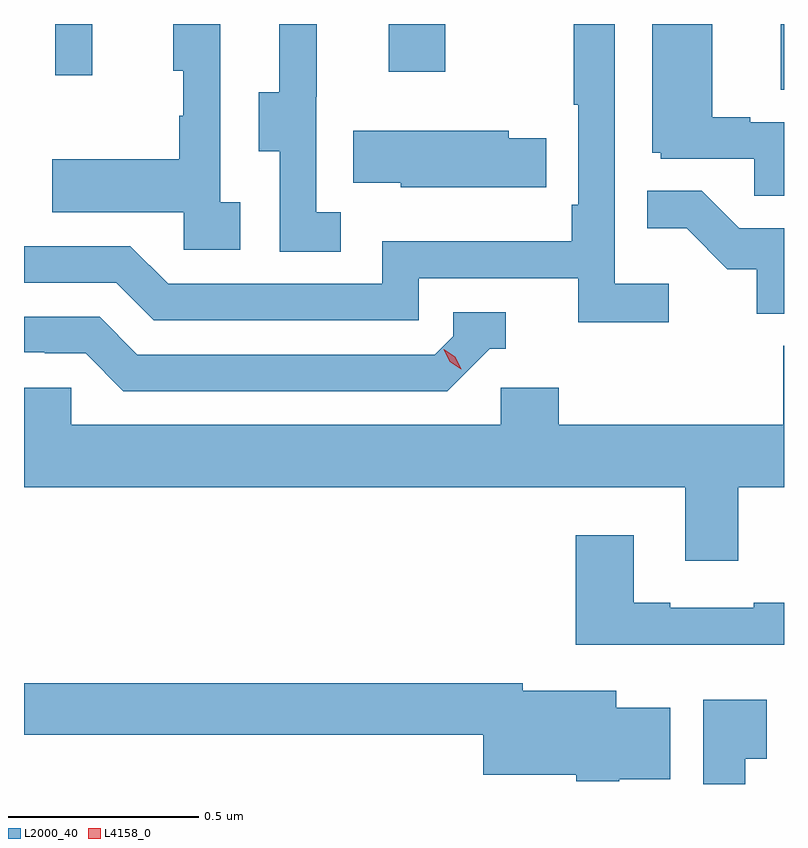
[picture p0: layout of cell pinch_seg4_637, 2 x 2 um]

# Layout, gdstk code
import gdstk
lib = gdstk.Library(unit=1e-6, precision=1e-09)
def R(c, l, rs):  # rectangles x0, y0, x1, y1
    for r in rs: c.add(gdstk.rectangle(r[:2], r[2:], *l))
def P(c, l, *ps):  # polygons
    for p in ps: c.add(gdstk.Polygon(p, *l))
L2000_40 = (2000, 40)
L4158_0 = (4158, 0)

pinch_seg4_637 = lib.new_cell('pinch_seg4_637')
R(pinch_seg4_637, L2000_40, [(1039.031,765.898,1039.039,766.071), (1037.121,765.936,1037.219,766.071), (1037.999,765.945,1038.147,766.071)])
P(pinch_seg4_637, L2000_40, [(1037.608,765.602),(1037.556,765.602),(1037.556,766.071),(1037.432,766.071),(1037.432,765.948),(1037.458,765.948),(1037.458,765.83),(1037.448,765.83),(1037.448,765.715),(1037.113,765.715),(1037.113,765.575),(1037.46,765.575),(1037.46,765.477),(1037.608,765.477)],
  [(1039.039,765.813),(1038.95,765.813),(1038.95,765.826),(1038.85,765.826),(1038.85,766.071),(1038.692,766.071),(1038.692,765.732),(1038.714,765.732),(1038.714,765.717),(1038.961,765.717),(1038.961,765.619),(1039.039,765.619)],
  [(1037.872,765.575),(1037.808,765.575),(1037.808,765.879),(1037.81,765.879),(1037.81,766.071),(1037.711,766.071),(1037.711,765.891),(1037.657,765.891),(1037.657,765.736),(1037.712,765.736),(1037.712,765.472),(1037.872,765.472)],
  [(1038.736,765.388),(1038.594,765.388),(1038.594,766.071),(1038.486,766.071),(1038.486,765.859),(1038.498,765.859),(1038.498,765.595),(1038.48,765.595),(1038.48,765.499),(1037.982,765.499),(1037.982,765.387),(1037.418,765.387),(1037.319,765.486),(1037.039,765.486),(1037.039,765.39),(1037.282,765.39),(1037.381,765.291),(1038.078,765.291),(1038.078,765.402),(1038.497,765.402),(1038.497,765.286),(1038.736,765.286)],
  [(1038.413,765.771),(1038.315,765.771),(1038.315,765.79),(1037.905,765.79),(1037.905,765.653),(1038.03,765.653),(1038.03,765.641),(1038.413,765.641)],
  [(1039.039,765.534),(1038.921,765.534),(1038.823,765.632),(1038.679,765.632),(1038.679,765.533),(1038.783,765.533),(1038.89,765.426),(1038.967,765.426),(1038.967,765.309),(1039.039,765.309)],
  [(1038.264,765.216),(1038.307,765.216),(1038.307,765.312),(1038.168,765.312),(1038.168,765.249),(1038.12,765.201),(1037.337,765.201),(1037.238,765.3),(1037.039,765.3),(1037.039,765.207),(1037.094,765.207),(1037.094,765.204),(1037.201,765.204),(1037.3,765.105),(1038.153,765.105)],
  [(1038.919,764.852),(1039.039,764.852),(1039.039,765.224),(1039.037,765.224),(1039.037,765.016),(1038.446,765.016),(1038.446,765.114),(1038.294,765.114),(1038.294,765.016),(1037.163,765.016),(1037.163,765.114),(1037.039,765.114),(1037.039,764.852),(1038.779,764.852),(1038.779,764.658),(1038.919,764.658)],
  [(1039.039,764.548),(1038.959,764.548),(1038.959,764.535),(1038.739,764.535),(1038.739,764.548),(1038.643,764.548),(1038.643,764.725),(1038.491,764.725),(1038.491,764.438),(1039.039,764.438)],
  [(1038.606,764.084),(1038.739,764.084),(1038.739,764.272),(1038.598,764.272),(1038.598,764.317),(1038.352,764.317),(1038.352,764.336),(1037.039,764.336),(1037.039,764.2),(1038.248,764.2),(1038.248,764.096),(1038.492,764.096),(1038.492,764.078),(1038.606,764.078)],
  [(1038.937,764.137),(1038.994,764.137),(1038.994,764.293),(1038.827,764.293),(1038.827,764.071),(1038.937,764.071)])
P(pinch_seg4_637, L4158_0, [(1038.19,765.162),(1038.16,765.182),(1038.144,765.215),(1038.144,765.215),(1038.144,765.215),(1038.174,765.195),(1038.19,765.162),(1038.19,765.162)])

lib.write_gds('pinch_seg4_637.gds')
